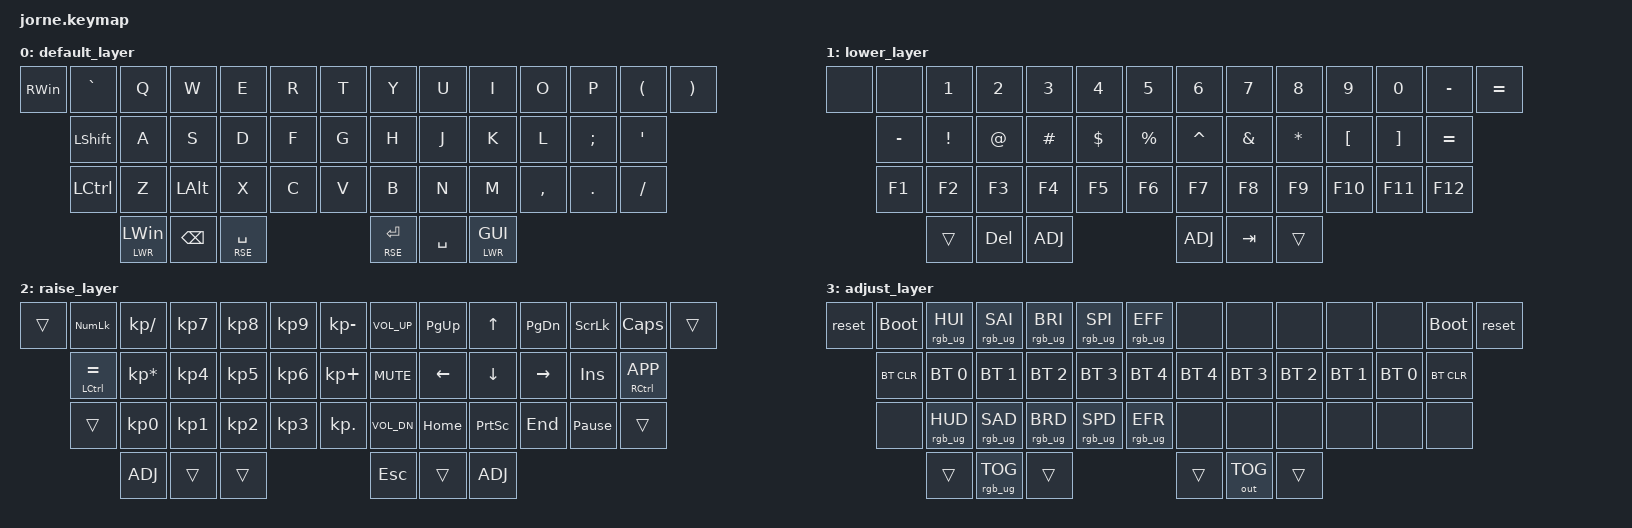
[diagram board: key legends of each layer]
/*
 * Copyright (c) 2020 The ZMK Contributors
 *
 * SPDX-License-Identifier: MIT
 */
#include <dt-bindings/led/led.h>
#include <behaviors.dtsi>
#include <dt-bindings/zmk/keys.h>
#include <dt-bindings/zmk/bt.h>
#include <dt-bindings/zmk/outputs.h>
#include <dt-bindings/zmk/rgb.h>

#define DEF 0
#define LWR 1
#define RSE 2
#define ADJ 3


&spi1 {
	compatible = "nordic,nrf-spim";
	/* Cannot be used together with i2c0. */
	status = "okay";
	mosi-pin = <6>;
	// Unused pins, needed for SPI definition, but not used by the ws2812 driver itself.
	sck-pin = <5>;
	miso-pin = <7>;

	led_strip: ws2812@0 {
		compatible = "worldsemi,ws2812-spi";
		label = "WS2812";

		/* SPI */
		reg = <0>; /* ignored, but necessary for SPI bindings */
		spi-max-frequency = <4000000>;

		/* WS2812 */
		chain-length = <6>; /* There are per-key RGB, but the first 6 are underglow */
		spi-one-frame = <0x70>;
		spi-zero-frame = <0x40>;
		color-mapping = <LED_COLOR_ID_GREEN LED_COLOR_ID_RED LED_COLOR_ID_BLUE>;
	};
};

/ {
    chosen {
		zmk,underglow = &led_strip;
	};

        keymap {
                compatible = "zmk,keymap";

                default_layer {
// -----------------------------------------------------------------------------------------
// |  GUI |   ~  |  Q  |  W   |  E  |  R   |  T  |   |  Y  |  U  |  I  |  O  |  P  |  (   |  )  |
//        | SHFT |  A  |  S   |  D  |  F   |  G  |   |  H  |  J  |  K  |  L  |  ;  |  '   |
//        | CTRL |  Z  | LALT |  X  |  C   |  V  |   |  B  |  N  |  M  |  ,  |  .  |  /   |
//                            | RSE | BKSP | LWR |   | RET | SPC | RSE |
                        bindings = <
   &kp RWIN &kp GRAVE &kp Q &kp W    &kp E &kp R &kp T          &kp Y       &kp U     &kp I &kp O     &kp P    &kp LPAR &kp RPAR
            &kp LSHFT &kp A &kp S    &kp D &kp F &kp G          &kp H       &kp J     &kp K &kp L     &kp SEMI &kp SQT
            &kp LCTRL &kp Z &kp LALT &kp X &kp C &kp V          &kp B       &kp N     &kp M &kp COMMA &kp DOT  &kp FSLH 
                         &lt LWR LWIN &kp BKSP &lt RSE SPACE    &lt RSE RET &kp SPACE &lt LWR GUI
                        >;
                };
                lower_layer {
// -----------------------------------------------------------------------------------------
// |     |     |  1  |  2  |  3  |  4  |  5  |   |  6  |  7  |  8  |  9  |  0  |  -_ |  =+ |
//       | -_  |  !  |  @  |  #  |  $  |  %  |   |  ^  |  &  |  *  |  [  |  ]  |  =+ |
//       |  F1 |  F2 |  F3 |  F4 |  F5 |  F6 |   |  F7 |  F8 |  F9 | F10 | F11 | F12 |
//                         | GUI |     | LWR |   | RET | TAB | ALT |
                        bindings = <
   &none  &none     &kp N1   &kp N2 &kp N3   &kp N4   &kp N5       &kp N6    &kp N7   &kp N8   &kp N9   &kp N0   &kp MINUS    &kp EQUAL    
          &kp MINUS &kp EXCL &kp AT &kp HASH &kp DLLR &kp PRCNT    &kp CARET &kp AMPS &kp STAR &kp LBKT &kp RBKT &kp EQUAL
          &kp F1    &kp F2   &kp F3 &kp F4   &kp F5   &kp F6       &kp F7    &kp F8   &kp F9   &kp F10  &kp F11  &kp F12
                                    &trans   &kp DEL  &ADJ         &kp ADJ   &kp TAB  &trans
                        >;
                };

                raise_layer {
// -----------------------------------------------------------------------------------------
// |     | NMLK |  /  |  7  |  8  |  9  |  -  |   | VOLU| PGUP|  UP | PGDN| SCLK| CLCK|     |
//       | CTRL |  *  |  4  |  5  |  6  |  +  |   | MUT | LEFT| DOWN| RGHT| INS | APP |
//       |      |  0  |  1  |  2  |  3  |  .  |   | VOLD| HOME| PRSC| END | PAUS|     |
//                          |     |     | ADJ |   | ADJ |     |     |
                        bindings = <
   &trans &kp KP_NUM      &kp KP_SLASH    &kp KP_N7 &kp KP_N8 &kp KP_N9 &kp KP_MINUS     &kp C_VOL_UP &kp PG_UP &kp UP    &kp PG_DN &kp SLCK &kp CAPS &trans
          &mt LCTRL EQUAL &kp KP_MULTIPLY &kp KP_N4 &kp KP_N5 &kp KP_N6 &kp KP_PLUS      &kp C_MUTE   &kp LEFT  &kp DOWN  &kp RIGHT &kp INS  &mt RCTRL K_APP
          &trans          &kp KP_N0       &kp KP_N1 &kp KP_N2 &kp KP_N3 &kp KP_DOT       &kp C_VOL_DN &kp HOME  &kp PSCRN &kp END   &kp PAUSE_BREAK &trans
                                                        &kp ADJ &trans &trans            &kp ESC &trans &kp ADJ
                        >;
                };
                adjust_layer {
// -----------------------------------------------------------------------------------------
// | RST | BLDR | HI  | SI  | BI  | PI  | EF  |   |     |     |     |     |     | BLDR | RST |
//       | BTCLR| BT0 | BT1 | BT2 | BT3 | BT4 |   | BT4 | BT3 | BT2 | BT1 | BT0 | BTCLR|
//       |      | HD  | SD  | BD  | PD  | ER  |   |     |     |     |     |     |      |
//                          |     | RGB |     |   |     | OUT |     |
                        bindings = <
   &reset &bootloader  &rgb_ug RGB_HUI           &rgb_ug RGB_SAI           &rgb_ug RGB_BRI          &rgb_ug RGB_SPI &rgb_ug RGB_EFF &none        &none        &none         &none      &none &bootloader &reset
          &bt BT_CLR   &bt BT_SEL 0 &bt BT_SEL 1 &bt BT_SEL 2 &bt BT_SEL 3 &bt BT_SEL 4             &bt BT_SEL 4    &bt BT_SEL 3    &bt BT_SEL 2 &bt BT_SEL 1 &bt BT_SEL 0  &bt BT_CLR
          &none        &rgb_ug RGB_HUD           &rgb_ug RGB_SAD           &rgb_ug RGB_BRD          &rgb_ug RGB_SPD &rgb_ug RGB_EFR &none        &none        &none         &none      &none &none
                                                                    &trans &rgb_ug RGB_TOG &trans   &trans          &out OUT_TOG     &trans
                        >;
                };
        };
};
